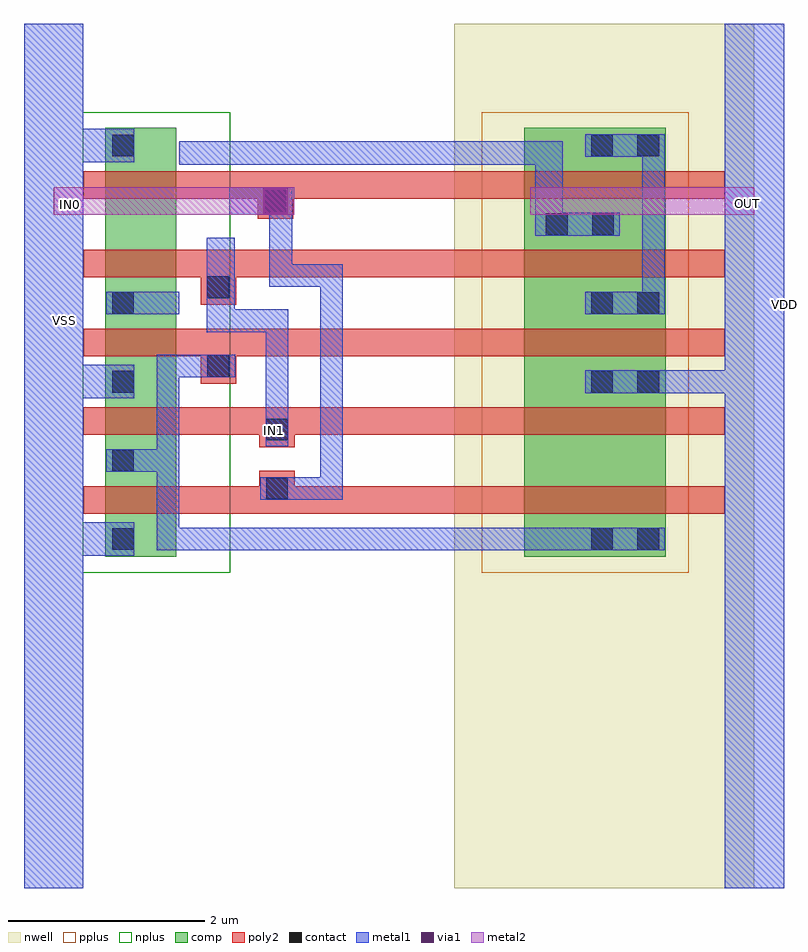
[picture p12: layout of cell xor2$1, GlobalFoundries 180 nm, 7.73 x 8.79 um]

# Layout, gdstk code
import gdstk
lib = gdstk.Library(unit=1e-6, precision=5e-09)
def R(c, l, rs):  # rectangles x0, y0, x1, y1
    for r in rs: c.add(gdstk.rectangle(r[:2], r[2:], *l))
def A(c, l, x, y, w, h, nx, ny, dx, dy):  # array of equal rectangles
    R(c, l, [(x+i*dx, y+j*dy, x+i*dx+w, y+j*dy+h) for i in range(nx) for j in range(ny)])
nwell = (21, 0)
comp = (22, 0)
poly2 = (30, 0)
pplus = (31, 0)
nplus = (32, 0)
contact = (33, 0)
metal1 = (34, 0)
via1 = (35, 0)
metal2 = (36, 0)

xor2_1 = lib.new_cell('xor2$1')
R(xor2_1, nwell, [(0.83,-4.47,3.88,4.32)])
R(xor2_1, comp, [(-2.72,-1.1,-2,3.26), (1.54,-1.1,2.98,3.26)])
A(xor2_1, poly2, -2.94, 0.94, 6.52, 0.28, 1, 3, 0, 0.8)
R(xor2_1, poly2, [(-2.94,-0.66,3.58,-0.38), (-1.155,-0.585,-0.795,-0.225), (-1.155,0.015,-0.795,0.375), (-2.945,0.14,3.58,0.42), (-1.75,0.66,-1.39,1.02), (-1.75,1.46,-1.39,1.82), (-1.17,2.335,-0.81,2.695)])
R(xor2_1, pplus, [(1.11,-1.26,3.21,3.42)])
R(xor2_1, nplus, [(-2.95,-1.26,-1.45,3.42)])
A(xor2_1, contact, -2.65, -1.03, 0.22, 0.22, 1, 4, 0, 0.8)
R(xor2_1, contact, [(2.22,-1.03,2.44,-0.81), (2.69,-1.03,2.91,-0.81), (-1.085,-0.515,-0.865,-0.295), (-1.085,0.085,-0.865,0.305), (2.22,0.57,2.44,0.79), (2.69,0.57,2.91,0.79), (-1.68,0.73,-1.46,0.95), (2.22,1.37,2.44,1.59), (2.69,1.37,2.91,1.59), (-1.68,1.53,-1.46,1.75), (1.76,2.17,1.98,2.39), (2.23,2.17,2.45,2.39), (-1.1,2.405,-0.88,2.625), (-2.65,2.97,-2.43,3.19), (2.22,2.97,2.44,3.19), (2.69,2.97,2.91,3.19)])
R(xor2_1, metal1, [(-3.545,-4.47,-2.945,4.32), (3.58,-4.47,4.18,4.32), (-2.945,-1.09,-2.425,-0.75), (-2.195,-1.035,2.97,-0.805), (-2.195,-0.805,-1.965,0.955), (-1.145,-0.52,-0.305,-0.29), (-0.535,-0.29,-0.305,1.875), (-2.71,-0.235,-2.195,-0.005), (-1.09,0.025,-0.86,1.415), (-2.945,0.51,-2.425,0.85), (2.16,0.565,3.58,0.795), (-1.965,0.725,-1.4,0.955), (-1.685,1.185,-1.09,1.415), (-2.71,1.365,-1.965,1.595), (2.16,1.365,2.97,1.595), (-1.685,1.415,-1.405,2.145), (2.74,1.595,2.97,2.965), (-1.05,1.645,-0.535,1.875), (-1.05,1.875,-0.82,2.375), (1.65,2.165,2.51,2.395), (-1.46,2.375,-0.82,2.655), (1.65,2.395,1.93,3.125), (-1.965,2.885,1.65,3.125), (-2.945,2.91,-2.425,3.25), (2.16,2.965,2.97,3.195)])
R(xor2_1, via1, [(-1.12,2.385,-0.86,2.645)])
R(xor2_1, metal2, [(-3.245,2.375,-0.8,2.655), (1.6,2.375,3.88,2.655)])
xor2_1.add(gdstk.Label('IN1', (-0.995,0.18), layer=34, texttype=10))
xor2_1.add(gdstk.Label('VDD', (4.185,1.465), layer=34, texttype=10))
xor2_1.add(gdstk.Label('VSS', (-3.135,1.3), layer=34, texttype=10))
xor2_1.add(gdstk.Label('IN0', (-3.07,2.48), layer=36, texttype=10))
xor2_1.add(gdstk.Label('OUT', (3.81,2.49), layer=36, texttype=10))

lib.write_gds('xor2_1.gds')
